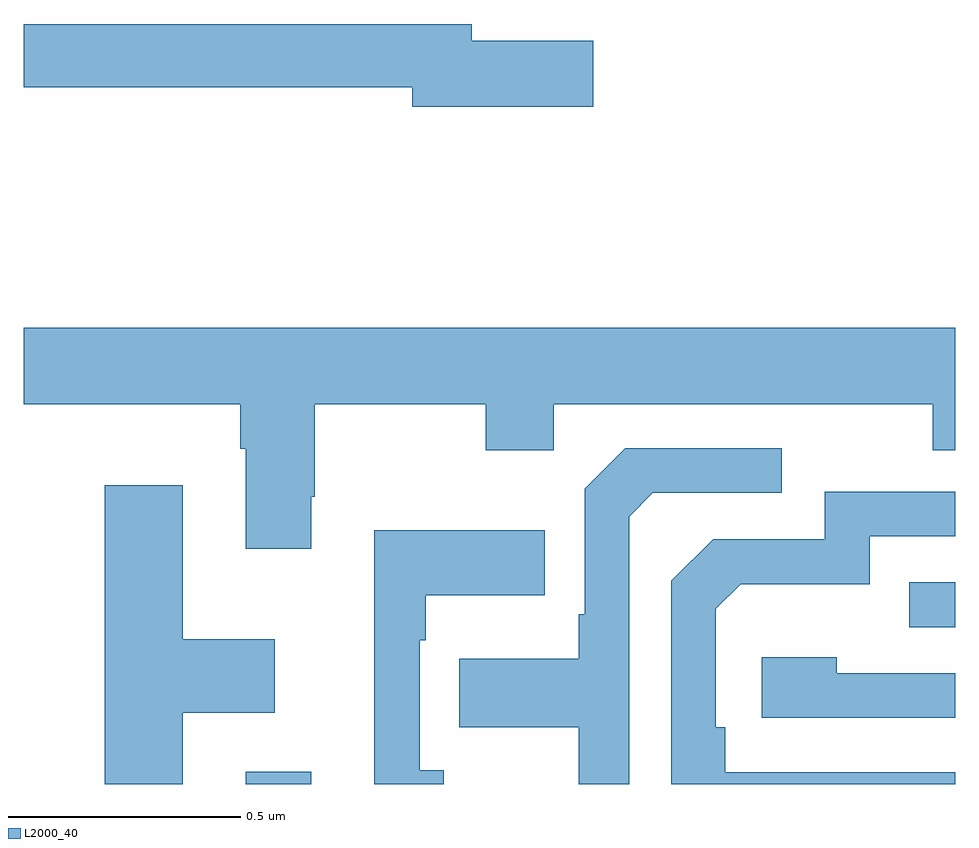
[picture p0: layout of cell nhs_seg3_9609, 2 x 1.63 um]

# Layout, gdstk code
import gdstk
lib = gdstk.Library(unit=1e-6, precision=1e-09)
def R(c, l, rs):  # rectangles x0, y0, x1, y1
    for r in rs: c.add(gdstk.rectangle(r[:2], r[2:], *l))
def P(c, l, *ps):  # polygons
    for p in ps: c.add(gdstk.Polygon(p, *l))
L2000_40 = (2000, 40)

nhs_seg3_9609 = lib.new_cell('nhs_seg3_9609')
R(nhs_seg3_9609, L2000_40, [(230.477,733.4,230.617,733.426), (231.901,733.737,232,733.833)])
P(nhs_seg3_9609, L2000_40, [(231.223,734.996),(230.962,734.996),(230.962,735.032),(230,735.032),(230,734.896),(230.834,734.896),(230.834,734.854),(231.223,734.854)],
  [(230.617,734.017),(230.625,734.017),(230.625,734.216),(230.992,734.216),(230.992,734.117),(231.138,734.117),(231.138,734.216),(231.952,734.216),(231.952,734.117),(232,734.117),(232,734.38),(230,734.38),(230,734.216),(230.465,734.216),(230.465,734.12),(230.477,734.12),(230.477,733.905),(230.617,733.905)],
  [(231.3,733.974),(231.351,734.025),(231.628,734.025),(231.628,734.121),(231.291,734.121),(231.204,734.034),(231.204,733.765),(231.192,733.765),(231.192,733.669),(230.935,733.669),(230.935,733.522),(231.192,733.522),(231.192,733.4),(231.3,733.4)],
  [(230.341,733.553),(230.539,733.553),(230.539,733.711),(230.341,733.711),(230.341,734.041),(230.174,734.041),(230.174,733.4),(230.341,733.4)],
  [(232,733.425),(231.506,733.425),(231.506,733.522),(231.486,733.522),(231.486,733.776),(231.539,733.829),(231.816,733.829),(231.816,733.932),(232,733.932),(232,734.028),(231.72,734.028),(231.72,733.926),(231.48,733.926),(231.39,733.836),(231.39,733.4),(232,733.4)],
  [(230.902,733.43),(230.85,733.43),(230.85,733.709),(230.863,733.709),(230.863,733.805),(231.119,733.805),(231.119,733.945),(230.753,733.945),(230.753,733.4),(230.902,733.4)],
  [(232,733.638),(231.746,733.638),(231.746,733.672),(231.585,733.672),(231.585,733.542),(232,733.542)])

lib.write_gds('nhs_seg3_9609.gds')
